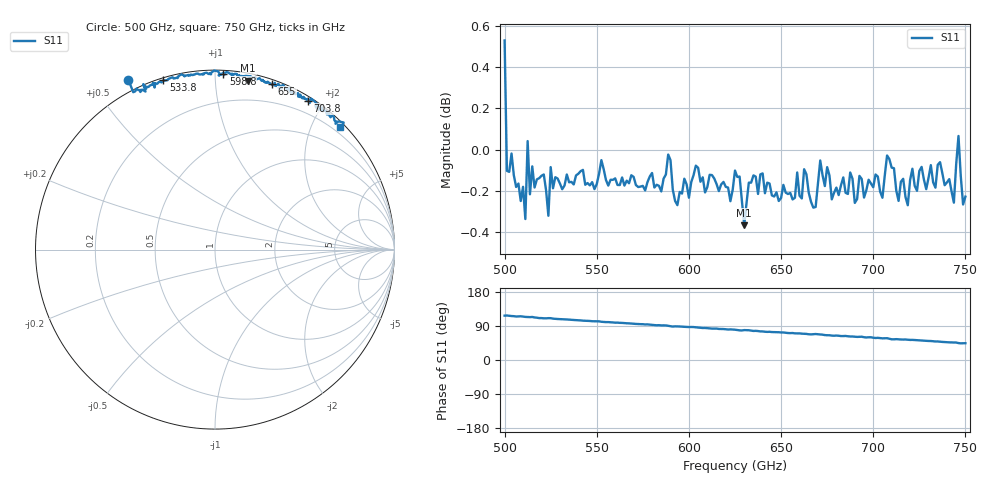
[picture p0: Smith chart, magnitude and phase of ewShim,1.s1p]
!Created with mwavepy.
# GHz S RI R 50.0
!freq	ReS11	ImS11
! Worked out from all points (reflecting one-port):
!   201 points, 500 GHz to 750 GHz, reference 50 ohm
!   lowest |S11| = -0.4 dB at 630 GHz (marker M1), VSWR 47.12, Z = 2.63 + j60.7 ohm
!   phase of S11 starts at 117 deg and turns -73 deg over the sweep
!   S11 on the Smith chart (normalised r, x): 500 GHz: -0.04, +0.61; 533.8 GHz: 0.01, +0.74; 598.8 GHz: 0.02, +1.05; 655 GHz: 0.04, +1.40; 703.8 GHz: 0.05, +1.81; 750 GHz: 0.09, +2.45
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500  -0.4828 0.947
! Port Impedance 50.00000000000000 0.00000000000000
501.25  -0.4555 0.8769
511.25  -0.3872 0.8805
512.5  -0.3992 0.922
513.75  -0.3829 0.8969
531.25  -0.2975 0.9317
533.75  -0.2877 0.9432
562.5  -0.1372 0.9707
588.75  -0.00588 0.9972
593.75  0.0232 0.9691
598.75  0.0466 0.9796
625  0.1719 0.9732
627.5  0.201 0.9643
630  0.1841 0.9406
636.25  0.2228 0.9594
655  0.3191 0.9224
656.25  0.3137 0.9205
666.25  0.3703 0.8978
671.25  0.3806 0.9181
677.5  0.4206 0.8768
687.5  0.4624 0.8722
703.75  0.5187 0.8275
707.5  0.5352 0.8408
710  0.5732 0.8071
718.75  0.5757 0.7798
743.75  0.6717 0.7008
746.25  0.7169 0.7081
750  0.6968 0.6805
